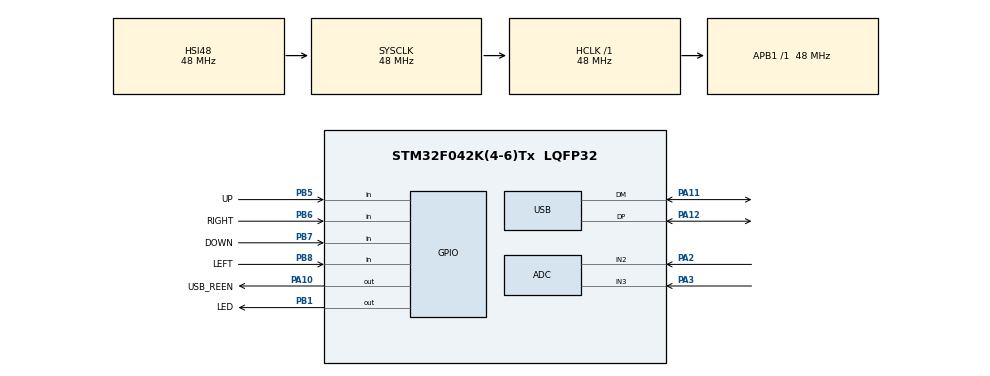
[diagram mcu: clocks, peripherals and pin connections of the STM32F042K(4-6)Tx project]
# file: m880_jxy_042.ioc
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ADC.ClockPrescaler=ADC_CLOCK_SYNC_PCLK_DIV4
ADC.EOCSelection=ADC_EOC_SEQ_CONV
ADC.Overrun=ADC_OVR_DATA_OVERWRITTEN
ADC.SamplingTime=ADC_SAMPLETIME_41CYCLES_5
Dma.ADC.0.Direction=DMA_PERIPH_TO_MEMORY
Dma.ADC.0.Instance=DMA1_Channel1
Dma.ADC.0.MemDataAlignment=DMA_MDATAALIGN_HALFWORD
Dma.ADC.0.MemInc=DMA_MINC_ENABLE
Dma.ADC.0.Mode=DMA_CIRCULAR
Dma.ADC.0.PeriphDataAlignment=DMA_PDATAALIGN_HALFWORD
Dma.ADC.0.PeriphInc=DMA_PINC_DISABLE
Dma.ADC.0.Priority=DMA_PRIORITY_LOW
Dma.Request0=ADC
IWDG.Reload=100
IWDG.Window=100
Mcu.Family=STM32F0
Mcu.Name=STM32F042K(4-6)Tx
Mcu.Package=LQFP32
NVIC.DMA1_Channel1_IRQn=true\:0\:0\:false\:false\:true\:false\:true\:true
NVIC.USB_IRQn=true\:0\:0\:false\:false\:true\:false\:true\:true
PA10.GPIO_Label=USB_REEN
PA10.Signal=GPIO_Output
PA11.Mode=Device
PA11.Signal=USB_DM
PA12.Mode=Device
PA12.Signal=USB_DP
PA13.Mode=Serial_Wire
PA13.Signal=SYS_SWDIO
PA14.Mode=Serial_Wire
PA14.Signal=SYS_SWCLK
PA2.Mode=IN2
PA2.Signal=ADC_IN2
PA3.Mode=IN3
PA3.Signal=ADC_IN3
PB1.GPIO_Label=LED
PB1.Signal=GPIO_Output
PB5.GPIO_Label=UP
PB5.Signal=GPIO_Input
PB6.GPIO_Label=RIGHT
PB6.Signal=GPIO_Input
PB7.GPIO_Label=DOWN
PB7.Signal=GPIO_Input
PB8.GPIO_Label=LEFT
PB8.Signal=GPIO_Input
ProjectManager.HeapSize=0x200
ProjectManager.StackSize=0x400
ProjectManager.TargetToolchain=STM32CubeIDE
RCC.AHBFreq_Value=48000000
RCC.APB1Freq_Value=48000000
RCC.APB1TimFreq_Value=48000000
RCC.HCLKFreq_Value=48000000
RCC.SYSCLKFreq_VALUE=48000000
RCC.SYSCLKSource=RCC_SYSCLKSOURCE_HSI48
USB_DEVICE.APP_RX_DATA_SIZE=128
USB_DEVICE.APP_TX_DATA_SIZE=128
USB_DEVICE.CLASS_NAME_FS=CDC
USB_DEVICE.MANUFACTURER_STRING=Radioautomatyka
USB_DEVICE.PRODUCT_STRING_CDC_FS=M880 JXY
USB_DEVICE.USBD_MAX_STR_DESC_SIZ=128
USB_DEVICE.VirtualMode=Cdc
USB_DEVICE.VirtualModeFS=Cdc_FS
VP_ADC_TempSens_Input.Mode=IN-TempSens
VP_ADC_Vbat_Input.Mode=IN-Vbat
VP_ADC_Vref_Input.Mode=IN-Vrefint
VP_IWDG_VS_IWDG.Mode=IWDG_Activate
VP_USB_DEVICE_VS_USB_DEVICE_CDC_FS.Mode=CDC_FS
board=custom

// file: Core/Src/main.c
/* USER CODE BEGIN Header */
/**
  ******************************************************************************
  * @file           : main.c
  * @brief          : Main program body
  ******************************************************************************
  * @attention
  *
  * Copyright (c) 2023 STMicroelectronics.
  * All rights reserved.
  *
  * This software is licensed under terms that can be found in the LICENSE file
  * in the root directory of this software component.
  * If no LICENSE file comes with this software, it is provided AS-IS.
  *
  ******************************************************************************
  */
/* USER CODE END Header */
#include "main.h"
#include "usb_device.h"

/* USER CODE BEGIN Includes */
#include <stdio.h>
#include "usbd_cdc_if.h"

/* USER CODE END Includes */

ADC_HandleTypeDef hadc;
DMA_HandleTypeDef hdma_adc;

IWDG_HandleTypeDef hiwdg;

/* USER CODE BEGIN PV */
uint_fast8_t timerEvent = 0;
uint16_t adc[3];
/* USER CODE END PV */

void SystemClock_Config(void);
static void MX_GPIO_Init(void);
static void MX_DMA_Init(void);
static void MX_ADC_Init(void);
static void MX_IWDG_Init(void);

int main(void)
{

  /* MCU Configuration--------------------------------------------------------*/

  /* Reset of all peripherals, Initializes the Flash interface and the Systick. */
  HAL_Init();

  /* Configure the system clock */
  SystemClock_Config();

  /* Initialize all configured peripherals */
  MX_GPIO_Init();
  MX_DMA_Init();
  MX_ADC_Init();
  MX_USB_DEVICE_Init();
  MX_IWDG_Init();
  /* USER CODE BEGIN 2 */
  HAL_ADCEx_Calibration_Start(&hadc);
  HAL_GPIO_WritePin(USB_REEN_GPIO_Port, USB_REEN_Pin, GPIO_PIN_SET);

  /* USER CODE END 2 */

  /* Infinite loop */
  /* USER CODE BEGIN WHILE */
  while (1)
  {
	  HAL_IWDG_Refresh(&hiwdg);

	  if(timerEvent){
		  timerEvent = 0;
		  int up, down, left, right;
		  up = HAL_GPIO_ReadPin(UP_GPIO_Port, UP_Pin);
		  down = HAL_GPIO_ReadPin(DOWN_GPIO_Port, DOWN_Pin);
		  left = HAL_GPIO_ReadPin(LEFT_GPIO_Port, LEFT_Pin);
		  right = HAL_GPIO_ReadPin(RIGHT_GPIO_Port, RIGHT_Pin);

		  printf("UDLR: %01d %01d %01d %01d LR: %04d UD: %04d\r\n", up, down, left, right, adc[0], adc[1]);
	  }
	  HAL_PWR_EnterSLEEPMode(PWR_MAINREGULATOR_ON, PWR_SLEEPENTRY_WFI);

    /* USER CODE END WHILE */

  }
}

void SystemClock_Config(void)
{
  RCC_OscInitTypeDef RCC_OscInitStruct = {0};
  RCC_ClkInitTypeDef RCC_ClkInitStruct = {0};
  RCC_PeriphCLKInitTypeDef PeriphClkInit = {0};

  /** Initializes the RCC Oscillators according to the specified parameters
  * in the RCC_OscInitTypeDef structure.
  */
  RCC_OscInitStruct.OscillatorType = RCC_OSCILLATORTYPE_HSI48|RCC_OSCILLATORTYPE_LSI;
  RCC_OscInitStruct.HSI48State = RCC_HSI48_ON;
  RCC_OscInitStruct.LSIState = RCC_LSI_ON;
  RCC_OscInitStruct.PLL.PLLState = RCC_PLL_NONE;
  if (HAL_RCC_OscConfig(&RCC_OscInitStruct) != HAL_OK)
  {
    Error_Handler();
  }

  /** Initializes the CPU, AHB and APB buses clocks
  */
  RCC_ClkInitStruct.ClockType = RCC_CLOCKTYPE_HCLK|RCC_CLOCKTYPE_SYSCLK
                              |RCC_CLOCKTYPE_PCLK1;
  RCC_ClkInitStruct.SYSCLKSource = RCC_SYSCLKSOURCE_HSI48;
  RCC_ClkInitStruct.AHBCLKDivider = RCC_SYSCLK_DIV1;
  RCC_ClkInitStruct.APB1CLKDivider = RCC_HCLK_DIV1;

  if (HAL_RCC_ClockConfig(&RCC_ClkInitStruct, FLASH_LATENCY_1) != HAL_OK)
  {
    Error_Handler();
  }
  PeriphClkInit.PeriphClockSelection = RCC_PERIPHCLK_USB;
  PeriphClkInit.UsbClockSelection = RCC_USBCLKSOURCE_HSI48;

  if (HAL_RCCEx_PeriphCLKConfig(&PeriphClkInit) != HAL_OK)
  {
    Error_Handler();
  }
}

static void MX_ADC_Init(void)
{

  ADC_ChannelConfTypeDef sConfig = {0};

  /** Configure the global features of the ADC (Clock, Resolution, Data Alignment and number of conversion)
  */
  hadc.Instance = ADC1;
  hadc.Init.ClockPrescaler = ADC_CLOCK_SYNC_PCLK_DIV4;
  hadc.Init.Resolution = ADC_RESOLUTION_12B;
  hadc.Init.DataAlign = ADC_DATAALIGN_RIGHT;
  hadc.Init.ScanConvMode = ADC_SCAN_DIRECTION_FORWARD;
  hadc.Init.EOCSelection = ADC_EOC_SEQ_CONV;
  hadc.Init.LowPowerAutoWait = DISABLE;
  hadc.Init.LowPowerAutoPowerOff = DISABLE;
  hadc.Init.ContinuousConvMode = DISABLE;
  hadc.Init.DiscontinuousConvMode = DISABLE;
  hadc.Init.ExternalTrigConv = ADC_SOFTWARE_START;
  hadc.Init.ExternalTrigConvEdge = ADC_EXTERNALTRIGCONVEDGE_NONE;
  hadc.Init.DMAContinuousRequests = DISABLE;
  hadc.Init.Overrun = ADC_OVR_DATA_OVERWRITTEN;
  if (HAL_ADC_Init(&hadc) != HAL_OK)
  {
    Error_Handler();
  }

  /** Configure for the selected ADC regular channel to be converted.
  */
  sConfig.Channel = ADC_CHANNEL_2;
  sConfig.Rank = ADC_RANK_CHANNEL_NUMBER;
  sConfig.SamplingTime = ADC_SAMPLETIME_41CYCLES_5;
  if (HAL_ADC_ConfigChannel(&hadc, &sConfig) != HAL_OK)
  {
    Error_Handler();
  }

  /** Configure for the selected ADC regular channel to be converted.
  */
  sConfig.Channel = ADC_CHANNEL_3;
  if (HAL_ADC_ConfigChannel(&hadc, &sConfig) != HAL_OK)
  {
    Error_Handler();
  }

  /** Configure for the selected ADC regular channel to be converted.
  */
  sConfig.Channel = ADC_CHANNEL_TEMPSENSOR;
  if (HAL_ADC_ConfigChannel(&hadc, &sConfig) != HAL_OK)
  {
    Error_Handler();
  }

  /** Configure for the selected ADC regular channel to be converted.
  */
  sConfig.Channel = ADC_CHANNEL_VREFINT;
  if (HAL_ADC_ConfigChannel(&hadc, &sConfig) != HAL_OK)
  {
    Error_Handler();
  }

  /** Configure for the selected ADC regular channel to be converted.
  */
  sConfig.Channel = ADC_CHANNEL_VBAT;
  if (HAL_ADC_ConfigChannel(&hadc, &sConfig) != HAL_OK)
  {
    Error_Handler();
  }

}

static void MX_IWDG_Init(void)
{

  hiwdg.Instance = IWDG;
  hiwdg.Init.Prescaler = IWDG_PRESCALER_4;
  hiwdg.Init.Window = 100;
  hiwdg.Init.Reload = 100;
  if (HAL_IWDG_Init(&hiwdg) != HAL_OK)
  {
    Error_Handler();
  }

}

static void MX_DMA_Init(void)
{

  /* DMA controller clock enable */
  __HAL_RCC_DMA1_CLK_ENABLE();

  /* DMA interrupt init */
  /* DMA1_Channel1_IRQn interrupt configuration */
  HAL_NVIC_SetPriority(DMA1_Channel1_IRQn, 0, 0);
  HAL_NVIC_EnableIRQ(DMA1_Channel1_IRQn);

}

static void MX_GPIO_Init(void)
{
  GPIO_InitTypeDef GPIO_InitStruct = {0};

  /* GPIO Ports Clock Enable */
  __HAL_RCC_GPIOA_CLK_ENABLE();
  __HAL_RCC_GPIOB_CLK_ENABLE();

  /*Configure GPIO pin Output Level */
  HAL_GPIO_WritePin(LED_GPIO_Port, LED_Pin, GPIO_PIN_RESET);

  /*Configure GPIO pin Output Level */
  HAL_GPIO_WritePin(USB_REEN_GPIO_Port, USB_REEN_Pin, GPIO_PIN_RESET);

  /*Configure GPIO pin : LED_Pin */
  GPIO_InitStruct.Pin = LED_Pin;
  GPIO_InitStruct.Mode = GPIO_MODE_OUTPUT_PP;
  GPIO_InitStruct.Pull = GPIO_NOPULL;
  GPIO_InitStruct.Speed = GPIO_SPEED_FREQ_LOW;
  HAL_GPIO_Init(LED_GPIO_Port, &GPIO_InitStruct);

  /*Configure GPIO pin : USB_REEN_Pin */
  GPIO_InitStruct.Pin = USB_REEN_Pin;
  GPIO_InitStruct.Mode = GPIO_MODE_OUTPUT_PP;
  GPIO_InitStruct.Pull = GPIO_NOPULL;
  GPIO_InitStruct.Speed = GPIO_SPEED_FREQ_LOW;
  HAL_GPIO_Init(USB_REEN_GPIO_Port, &GPIO_InitStruct);

  /*Configure GPIO pins : UP_Pin RIGHT_Pin DOWN_Pin LEFT_Pin */
  GPIO_InitStruct.Pin = UP_Pin|RIGHT_Pin|DOWN_Pin|LEFT_Pin;
  GPIO_InitStruct.Mode = GPIO_MODE_INPUT;
  GPIO_InitStruct.Pull = GPIO_NOPULL;
  HAL_GPIO_Init(GPIOB, &GPIO_InitStruct);

}

/* USER CODE BEGIN 4 */

void systickEvent(void)
{
	static int led_cnt=0;

	if(2 == led_cnt){
		HAL_GPIO_WritePin(LED_GPIO_Port, LED_Pin, GPIO_PIN_RESET );
	}

	if(40 == led_cnt){
		HAL_ADC_Start_DMA(&hadc, (uint32_t*)adc, 3);
	}

	if(++led_cnt >= 50){
		led_cnt = 0;
		//HAL_GPIO_TogglePin(LED_GPIO_Port, LED_Pin);
		HAL_GPIO_WritePin(LED_GPIO_Port, LED_Pin, GPIO_PIN_SET );
		timerEvent = 1;
	}

}

int _write(int file, char* ptr, int len) {
CDC_Transmit_FS((uint8_t*) ptr, len);
//HAL_UART_Transmit(&huart2, (uint8_t*) ptr, len, HAL_MAX_DELAY);
return len;
}

/* USER CODE END 4 */

void Error_Handler(void)
{
  __disable_irq();
  while (1)
  {
  }
}
